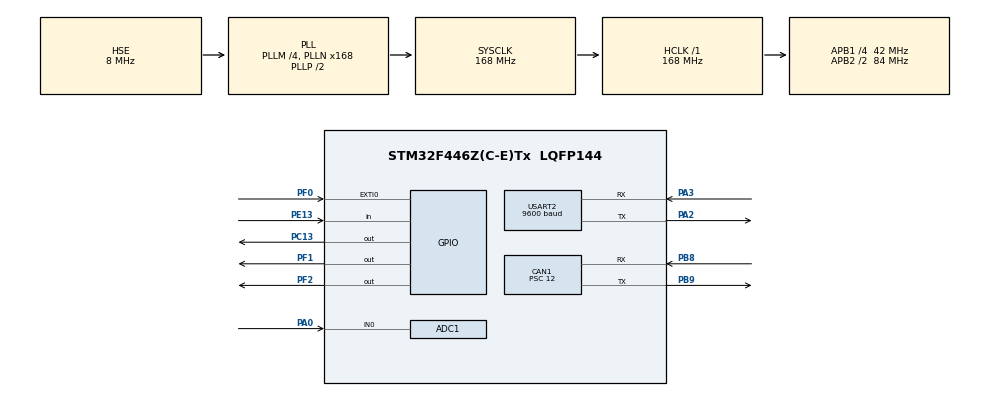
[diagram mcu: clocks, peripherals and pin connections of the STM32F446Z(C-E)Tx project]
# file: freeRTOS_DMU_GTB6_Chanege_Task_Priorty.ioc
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ADC1.Channel-0\#ChannelRegularConversion=ADC_CHANNEL_0
ADC1.NbrOfConversionFlag=1
ADC1.Rank-0\#ChannelRegularConversion=1
ADC1.SamplingTime-0\#ChannelRegularConversion=ADC_SAMPLETIME_3CYCLES
ADC1.ScanConvMode=ENABLE
ADC1.master=1
CAN1.BS1=CAN_BS1_11TQ
CAN1.BS2=CAN_BS2_2TQ
CAN1.CalculateBaudRate=250000
CAN1.CalculateTimeBit=4000
CAN1.CalculateTimeQuantum=285.7142857142857
CAN1.Prescaler=12
FREERTOS.Tasks01=myTask01,-1,128,StartDefaultTask,Default,NULL,Dynamic,NULL,NULL;myTask02,-1,128,StartTask02,Default,NULL,Dynamic,NULL,NULL
FREERTOS.configUSE_NEWLIB_REENTRANT=1
Mcu.Family=STM32F4
Mcu.Name=STM32F446Z(C-E)Tx
Mcu.Package=LQFP144
NVIC.CAN1_RX0_IRQn=true\:5\:0\:false\:false\:true\:true\:true\:true\:true
NVIC.PriorityGroup=NVIC_PRIORITYGROUP_4
NVIC.TIM6_DAC_IRQn=true\:15\:0\:false\:false\:true\:false\:false\:true\:true
NVIC.TimeBase=TIM6_DAC_IRQn
NVIC.TimeBaseIP=TIM6
PA0-WKUP.Signal=ADCx_IN0
PA13.Mode=Serial_Wire
PA13.Signal=SYS_JTMS-SWDIO
PA14.Mode=Serial_Wire
PA14.Signal=SYS_JTCK-SWCLK
PA2.Mode=Asynchronous
PA2.Signal=USART2_TX
PA3.Mode=Asynchronous
PA3.Signal=USART2_RX
PB8.Mode=CAN_Activate
PB8.Signal=CAN1_RX
PB9.Mode=CAN_Activate
PB9.Signal=CAN1_TX
PC13.Signal=GPIO_Output
PE13.Signal=GPIO_Input
PF0.Signal=GPXTI0
PF1.Signal=GPIO_Output
PF2.Signal=GPIO_Output
PH0-OSC_IN.Mode=HSE-External-Oscillator
PH0-OSC_IN.Signal=RCC_OSC_IN
PH1-OSC_OUT.Mode=HSE-External-Oscillator
PH1-OSC_OUT.Signal=RCC_OSC_OUT
ProjectManager.HeapSize=0x200
ProjectManager.StackSize=0x400
ProjectManager.TargetToolchain=STM32CubeIDE
RCC.AHBFreq_Value=168000000
RCC.APB1CLKDivider=RCC_HCLK_DIV4
RCC.APB1Freq_Value=42000000
RCC.APB1TimFreq_Value=84000000
RCC.APB2CLKDivider=RCC_HCLK_DIV2
RCC.APB2Freq_Value=84000000
RCC.APB2TimFreq_Value=168000000
RCC.CortexFreq_Value=168000000
RCC.HCLKFreq_Value=168000000
RCC.HSE_VALUE=8000000
RCC.PLLM=4
RCC.PLLN=168
RCC.PLLSourceVirtual=RCC_PLLSOURCE_HSE
RCC.SYSCLKFreq_VALUE=168000000
RCC.SYSCLKSource=RCC_SYSCLKSOURCE_PLLCLK
RCC.USBFreq_Value=168000000
RCC.VCOOutputFreq_Value=336000000
SH.ADCx_IN0.0=ADC1_IN0,IN0
USART2.BaudRate=9600
USART2.VirtualMode=VM_ASYNC
VP_FREERTOS_VS_CMSIS_V1.Mode=CMSIS_V1
VP_SYS_VS_tim6.Mode=TIM6
board=custom

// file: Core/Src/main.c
/* USER CODE BEGIN Header */
/**
  ******************************************************************************
  * @file           : main.c
  * @brief          : Main program body
  ******************************************************************************
  * @attention
  *
  * Copyright (c) 2024 STMicroelectronics.
  * All rights reserved.
  *
  * This software is licensed under terms that can be found in the LICENSE file
  * in the root directory of this software component.
  * If no LICENSE file comes with this software, it is provided AS-IS.
  *
  ******************************************************************************
  */
/* USER CODE END Header */
#include "main.h"
#include "cmsis_os.h"

/* USER CODE BEGIN Includes */
#include "task.h" // task dosyaları için
#include "string.h"
/* USER CODE END Includes */

ADC_HandleTypeDef hadc1;

CAN_HandleTypeDef hcan1;

UART_HandleTypeDef huart2;

osThreadId myTask01Handle;
osThreadId myTask02Handle;
/* USER CODE BEGIN PV */
//TaskHandle_t myTask01Handle;
//TaskHandle_t myTask02Handle;

/* USER CODE END PV */

void SystemClock_Config(void);
static void MX_GPIO_Init(void);
static void MX_ADC1_Init(void);
static void MX_CAN1_Init(void);
static void MX_USART2_UART_Init(void);
void StartDefaultTask(void const * argument);
void StartTask02(void const * argument);

/* USER CODE BEGIN 0 */

uint32_t dmu_value;
unsigned char digital_output;
/* USER CODE END 0 */

int main(void)
{

  /* MCU Configuration--------------------------------------------------------*/

  /* Reset of all peripherals, Initializes the Flash interface and the Systick. */
  HAL_Init();

  /* Configure the system clock */
  SystemClock_Config();

  /* USER CODE BEGIN SysInit */
  SystemCoreClockUpdate();
  /* USER CODE END SysInit */

  /* Initialize all configured peripherals */
  MX_GPIO_Init();
  MX_ADC1_Init();
  MX_CAN1_Init();
  MX_USART2_UART_Init();

  /* Create the thread(s) */
  /* definition and creation of myTask01 */
  osThreadDef(myTask01, StartDefaultTask, osPriorityBelowNormal, 0, 128);
  myTask01Handle = osThreadCreate(osThread(myTask01), NULL);

  /* definition and creation of myTask02 */
  osThreadDef(myTask02, StartTask02, osPriorityBelowNormal, 0, 128);
  myTask02Handle = osThreadCreate(osThread(myTask02), NULL);

  /* USER CODE BEGIN RTOS_THREADS */
  /* add threads, ... */

//  xTaskCreate(StartDefaultTask," DMU OKUMA ",configMINIMAL_STACK_SIZE, NULL, 2, &myTask01Handle);
//  xTaskCreate(StartTask02," Led yakma ", configMINIMAL_STACK_SIZE, NULL, 2, &myTask02Handle);
  /* USER CODE END RTOS_THREADS */

  /* Start scheduler */
  osKernelStart();

  /* We should never get here as control is now taken by the scheduler */

  /* Infinite loop */
  while (1)
  {

  }
}

void SystemClock_Config(void)
{
  RCC_OscInitTypeDef RCC_OscInitStruct = {0};
  RCC_ClkInitTypeDef RCC_ClkInitStruct = {0};

  /** Configure the main internal regulator output voltage
  */
  __HAL_RCC_PWR_CLK_ENABLE();
  __HAL_PWR_VOLTAGESCALING_CONFIG(PWR_REGULATOR_VOLTAGE_SCALE1);

  /** Initializes the RCC Oscillators according to the specified parameters
  * in the RCC_OscInitTypeDef structure.
  */
  RCC_OscInitStruct.OscillatorType = RCC_OSCILLATORTYPE_HSE;
  RCC_OscInitStruct.HSEState = RCC_HSE_ON;
  RCC_OscInitStruct.PLL.PLLState = RCC_PLL_ON;
  RCC_OscInitStruct.PLL.PLLSource = RCC_PLLSOURCE_HSE;
  RCC_OscInitStruct.PLL.PLLM = 4;
  RCC_OscInitStruct.PLL.PLLN = 168;
  RCC_OscInitStruct.PLL.PLLP = RCC_PLLP_DIV2;
  RCC_OscInitStruct.PLL.PLLQ = 2;
  RCC_OscInitStruct.PLL.PLLR = 2;
  if (HAL_RCC_OscConfig(&RCC_OscInitStruct) != HAL_OK)
  {
    Error_Handler();
  }

  /** Initializes the CPU, AHB and APB buses clocks
  */
  RCC_ClkInitStruct.ClockType = RCC_CLOCKTYPE_HCLK|RCC_CLOCKTYPE_SYSCLK
                              |RCC_CLOCKTYPE_PCLK1|RCC_CLOCKTYPE_PCLK2;
  RCC_ClkInitStruct.SYSCLKSource = RCC_SYSCLKSOURCE_PLLCLK;
  RCC_ClkInitStruct.AHBCLKDivider = RCC_SYSCLK_DIV1;
  RCC_ClkInitStruct.APB1CLKDivider = RCC_HCLK_DIV4;
  RCC_ClkInitStruct.APB2CLKDivider = RCC_HCLK_DIV2;

  if (HAL_RCC_ClockConfig(&RCC_ClkInitStruct, FLASH_LATENCY_5) != HAL_OK)
  {
    Error_Handler();
  }
}

static void MX_ADC1_Init(void)
{

  ADC_ChannelConfTypeDef sConfig = {0};

  /** Configure the global features of the ADC (Clock, Resolution, Data Alignment and number of conversion)
  */
  hadc1.Instance = ADC1;
  hadc1.Init.ClockPrescaler = ADC_CLOCK_SYNC_PCLK_DIV4;
  hadc1.Init.Resolution = ADC_RESOLUTION_12B;
  hadc1.Init.ScanConvMode = ENABLE;
  hadc1.Init.ContinuousConvMode = DISABLE;
  hadc1.Init.DiscontinuousConvMode = DISABLE;
  hadc1.Init.ExternalTrigConvEdge = ADC_EXTERNALTRIGCONVEDGE_NONE;
  hadc1.Init.ExternalTrigConv = ADC_SOFTWARE_START;
  hadc1.Init.DataAlign = ADC_DATAALIGN_RIGHT;
  hadc1.Init.NbrOfConversion = 1;
  hadc1.Init.DMAContinuousRequests = DISABLE;
  hadc1.Init.EOCSelection = ADC_EOC_SINGLE_CONV;
  if (HAL_ADC_Init(&hadc1) != HAL_OK)
  {
    Error_Handler();
  }

  /** Configure for the selected ADC regular channel its corresponding rank in the sequencer and its sample time.
  */
  sConfig.Channel = ADC_CHANNEL_0;
  sConfig.Rank = 1;
  sConfig.SamplingTime = ADC_SAMPLETIME_3CYCLES;
  if (HAL_ADC_ConfigChannel(&hadc1, &sConfig) != HAL_OK)
  {
    Error_Handler();
  }

}

static void MX_CAN1_Init(void)
{

  hcan1.Instance = CAN1;
  hcan1.Init.Prescaler = 12;
  hcan1.Init.Mode = CAN_MODE_NORMAL;
  hcan1.Init.SyncJumpWidth = CAN_SJW_1TQ;
  hcan1.Init.TimeSeg1 = CAN_BS1_11TQ;
  hcan1.Init.TimeSeg2 = CAN_BS2_2TQ;
  hcan1.Init.TimeTriggeredMode = DISABLE;
  hcan1.Init.AutoBusOff = DISABLE;
  hcan1.Init.AutoWakeUp = DISABLE;
  hcan1.Init.AutoRetransmission = DISABLE;
  hcan1.Init.ReceiveFifoLocked = DISABLE;
  hcan1.Init.TransmitFifoPriority = DISABLE;
  if (HAL_CAN_Init(&hcan1) != HAL_OK)
  {
    Error_Handler();
  }

}

static void MX_USART2_UART_Init(void)
{

  huart2.Instance = USART2;
  huart2.Init.BaudRate = 9600;
  huart2.Init.WordLength = UART_WORDLENGTH_8B;
  huart2.Init.StopBits = UART_STOPBITS_1;
  huart2.Init.Parity = UART_PARITY_NONE;
  huart2.Init.Mode = UART_MODE_TX_RX;
  huart2.Init.HwFlowCtl = UART_HWCONTROL_NONE;
  huart2.Init.OverSampling = UART_OVERSAMPLING_16;
  if (HAL_UART_Init(&huart2) != HAL_OK)
  {
    Error_Handler();
  }
  /* USER CODE BEGIN USART2_Init 2 */
  // USART_Cmd(USART2, ENABLE); Normalde usart bununla katif olur
  /* USER CODE END USART2_Init 2 */

}

static void MX_GPIO_Init(void)
{
  GPIO_InitTypeDef GPIO_InitStruct = {0};

  /* GPIO Ports Clock Enable */
  __HAL_RCC_GPIOC_CLK_ENABLE();
  __HAL_RCC_GPIOF_CLK_ENABLE();
  __HAL_RCC_GPIOH_CLK_ENABLE();
  __HAL_RCC_GPIOA_CLK_ENABLE();
  __HAL_RCC_GPIOE_CLK_ENABLE();
  __HAL_RCC_GPIOB_CLK_ENABLE();

  /*Configure GPIO pin Output Level */
  HAL_GPIO_WritePin(GPIOC, GPIO_PIN_13, GPIO_PIN_RESET);

  /*Configure GPIO pin Output Level */
  HAL_GPIO_WritePin(GPIOF, GPIO_PIN_1|GPIO_PIN_2, GPIO_PIN_RESET);

  /*Configure GPIO pin : PC13 */
  GPIO_InitStruct.Pin = GPIO_PIN_13;
  GPIO_InitStruct.Mode = GPIO_MODE_OUTPUT_PP;
  GPIO_InitStruct.Pull = GPIO_NOPULL;
  GPIO_InitStruct.Speed = GPIO_SPEED_FREQ_LOW;
  HAL_GPIO_Init(GPIOC, &GPIO_InitStruct);

  /*Configure GPIO pin : PF0 */
  GPIO_InitStruct.Pin = GPIO_PIN_0;
  GPIO_InitStruct.Mode = GPIO_MODE_IT_RISING;
  GPIO_InitStruct.Pull = GPIO_NOPULL;
  HAL_GPIO_Init(GPIOF, &GPIO_InitStruct);

  /*Configure GPIO pins : PF1 PF2 */
  GPIO_InitStruct.Pin = GPIO_PIN_1|GPIO_PIN_2;
  GPIO_InitStruct.Mode = GPIO_MODE_OUTPUT_PP;
  GPIO_InitStruct.Pull = GPIO_NOPULL;
  GPIO_InitStruct.Speed = GPIO_SPEED_FREQ_LOW;
  HAL_GPIO_Init(GPIOF, &GPIO_InitStruct);

  /*Configure GPIO pin : PE13 */
  GPIO_InitStruct.Pin = GPIO_PIN_13;
  GPIO_InitStruct.Mode = GPIO_MODE_INPUT;
  GPIO_InitStruct.Pull = GPIO_NOPULL;
  HAL_GPIO_Init(GPIOE, &GPIO_InitStruct);

}

void StartDefaultTask(void const * argument)
{
  /* USER CODE BEGIN 5 */
  /* Infinite loop */
  for(;;)
  {
  	  HAL_ADC_Start(&hadc1);  // ADC'yi başlat
  	  if(HAL_ADC_GetValue(&hadc1) == HAL_OK)
  	  {
  		  dmu_value = HAL_ADC_GetValue(&hadc1);
//		  HAL_GPIO_WritePin(GPIOF, GPIO_PIN_0|GPIO_PIN_1|GPIO_PIN_2, GPIO_PIN_SET);
////		  HAL_GPIO_WritePin(GPIOC, GPIO_PIN_13, GPIO_PIN_SET);
//		  vTaskDelay(pdMS_TO_TICKS(1000)); // milisaniyeyi tick değerine dönüştürülecek
//
//		  HAL_GPIO_WritePin(GPIOF, GPIO_PIN_0|GPIO_PIN_1|GPIO_PIN_2, GPIO_PIN_RESET);
////		  HAL_GPIO_WritePin(GPIOC, GPIO_PIN_13, GPIO_PIN_RESET);
//		  vTaskDelay(pdMS_TO_TICKS(1000));
  	  }
  	  HAL_ADC_Stop(&hadc1);
      vTaskDelay(pdMS_TO_TICKS(100)); // Add a small delay to avoid excessive CPU usage

  }
  /* USER CODE END 5 */
}

void StartTask02(void const * argument)
{
  /* USER CODE BEGIN StartTask02 */
//	uint32_t pulNotificationValue = 0;
  /* Infinite loop */
  for(;;)
  {
	  digital_output = HAL_GPIO_ReadPin(GPIOE, GPIO_PIN_13);
	  if (digital_output == 1)
	  {
		  HAL_GPIO_WritePin(GPIOF, GPIO_PIN_0|GPIO_PIN_1|GPIO_PIN_2, GPIO_PIN_SET);
		  HAL_GPIO_WritePin(GPIOC, GPIO_PIN_13, GPIO_PIN_SET);
		  vTaskDelay(pdMS_TO_TICKS(1000)); // milisaniyeyi tick değerine dönüştürülecek

		  HAL_GPIO_WritePin(GPIOF, GPIO_PIN_0|GPIO_PIN_1|GPIO_PIN_2, GPIO_PIN_RESET);
		  HAL_GPIO_WritePin(GPIOC, GPIO_PIN_13, GPIO_PIN_RESET);
		  vTaskDelay(pdMS_TO_TICKS(1000));
	  }

//  	  HAL_ADC_Start(&hadc1);  // ADC'yi başlat
//  	  if(HAL_ADC_PollForConversion(&hadc1, 10000) != HAL_OK)
//  	  {
//  		  dmu_value = HAL_ADC_GetValue(&hadc1);
////		  HAL_GPIO_WritePin(GPIOF, GPIO_PIN_0|GPIO_PIN_1|GPIO_PIN_2, GPIO_PIN_SET);
////		  HAL_GPIO_WritePin(GPIOC, GPIO_PIN_13, GPIO_PIN_SET);
////		  vTaskDelay(pdMS_TO_TICKS(1000)); // milisaniyeyi tick değerine dönüştürülecek
////
////		  HAL_GPIO_WritePin(GPIOF, GPIO_PIN_0|GPIO_PIN_1|GPIO_PIN_2, GPIO_PIN_RESET);
////		  HAL_GPIO_WritePin(GPIOC, GPIO_PIN_13, GPIO_PIN_RESET);
////		  vTaskDelay(pdMS_TO_TICKS(1000));
//  	  }
//  	  HAL_ADC_Stop(&hadc1);

  }
//		  HAL_GPIO_WritePin(GPIOF, GPIO_PIN_0|GPIO_PIN_1|GPIO_PIN_2, GPIO_PIN_SET);
//		  HAL_GPIO_WritePin(GPIOC, GPIO_PIN_13, GPIO_PIN_SET);
//		  vTaskDelay(pdMS_TO_TICKS(1000)); // milisaniyeyi tick değerine dönüştürülecek
//
//		  HAL_GPIO_WritePin(GPIOF, GPIO_PIN_0|GPIO_PIN_1|GPIO_PIN_2, GPIO_PIN_RESET);
//		  HAL_GPIO_WritePin(GPIOC, GPIO_PIN_13, GPIO_PIN_RESET);
//		  vTaskDelay(pdMS_TO_TICKS(1000));

  vTaskDelay(pdMS_TO_TICKS(100)); // Add a small delay to avoid excessive CPU usage

  /* USER CODE END StartTask02 */
}

void HAL_TIM_PeriodElapsedCallback(TIM_HandleTypeDef *htim)
{
  if (htim->Instance == TIM6) {
    HAL_IncTick();
  }
}

void Error_Handler(void)
{
  __disable_irq();
  while (1)
  {
  }
}
